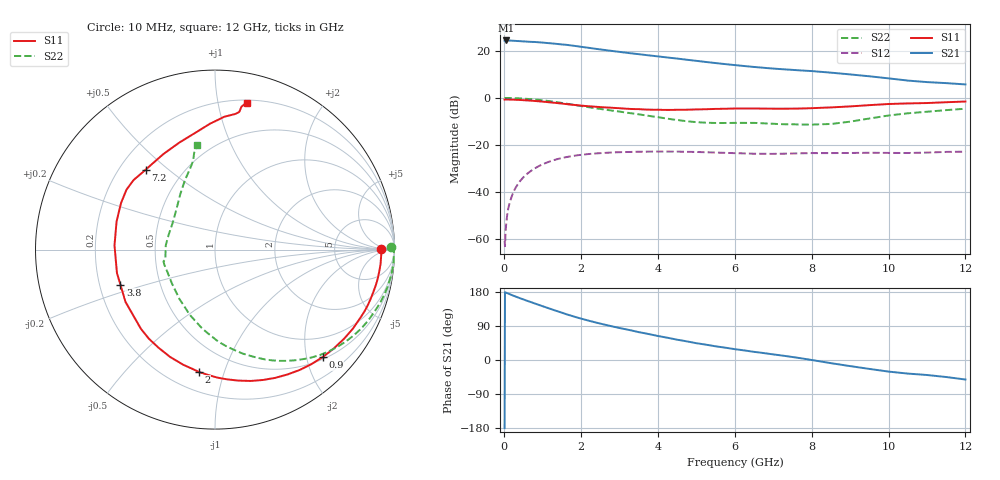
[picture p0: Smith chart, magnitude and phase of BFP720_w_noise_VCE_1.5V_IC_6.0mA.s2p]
! Infineon Technologies  Discrete & RF Semiconductors
! BFP720
! VCE =  1.5 V,  IC =  6.0 mA
! Common Emitter S-Parameters:  Aug 2012
# GHz  S  MA  R  50
!  f  S11  S21  S12  S22
! GHz  MAG  ANG  MAG  ANG  MAG  ANG  MAG  ANG
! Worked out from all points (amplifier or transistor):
!   105 points, 10 MHz to 12 GHz, reference 50 ohm
!   highest |S21| = 24.5 dB at 50 MHz (marker M1)
!   |S21| within 3 dB of that: start of sweep to 2.136 GHz
!   unconditionally stable (mu >= 1): start of sweep to 11 MHz; 6.482 GHz to 11.68 GHz
!   at 300 MHz: K = 0.05, MSG = 31.2 dB, |S12| = -38.1 dB
!   at 3.6 GHz: K = 0.53, MSG = 20.7 dB, |S12| = -22.9 dB
!   at 12 GHz: K = 0.90, MSG = 14.3 dB, |S12| = -22.9 dB
!   lowest NFmin = 0.43 dB at 450 MHz
!   S11 on the Smith chart (normalised r, x): 10 MHz: 25, +1; 900 MHz: 0.54, -2.31; 2 GHz: 0.32, -0.83; 3.8 GHz: 0.29, -0.16; 7.2 GHz: 0.31, +0.42; 12 GHz: 0.22, +1.22
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0.01  0.9238 0.2  16.54 -179.8  0.0009 0.6  0.983 1.0
0.02  0.927 -0.9  16.5 178.8  0.0007 96.6  0.9974 -0.6
0.05  0.9263 -2.4  16.72 177.5  0.002 86.9  0.9967 -1.7
0.2  0.9212 -9.9  16.52 171.3  0.0082 84.3  0.9933 -7.2
0.45  0.9015 -22.3  16.07 161.6  0.0185 76.6  0.9726 -16.0
0.9  0.848 -44.9  15.28 145.4  0.0354 63.1  0.9089 -31.7
1.3  0.7893 -64.9  14.3 131.5  0.0477 51.7  0.8283 -45.2
1.6  0.7414 -79.9  13.56 121.3  0.0547 44.0  0.7598 -54.3
2  0.6875 -97.4  12.26 109.2  0.0615 34.8  0.6734 -65.4
2.1  0.6749 -101.3  11.94 106.5  0.0627 32.8  0.6531 -67.8
2.4  0.6483 -112.7  11.05 98.5  0.066 27.1  0.5995 -75.1
2.8  0.6184 -126.5  10.02 88.9  0.069 20.8  0.5388 -83.8
3.5  0.5776 -149.7  8.542 73.5  0.0717 11.5  0.448 -98.8
3.8  0.562 -159.7  7.985 67.6  0.072 8.1  0.411 -105.7
4.1  0.558 -169.7  7.494 61.5  0.0722 4.9  0.3782 -113.6
5  0.5702 164.1  6.158 44.3  0.0708 -3.5  0.3058 -141.4
6.1  0.5951 144.6  4.906 27.3  0.0664 -9.2  0.2945 -163.9
7.2  0.5897 131.0  4.104 12.1  0.065 -10.4  0.2768 -175.3
8.5  0.6283 108.5  3.452 -8.3  0.067 -14.5  0.279 147.6
9.5  0.7024 92.2  2.89 -23.5  0.0681 -17.6  0.3647 122.0
10.5  0.7642 81.5  2.342 -35.8  0.0673 -20.2  0.4708 107.2
12  0.838 77.8  1.938 -51.5  0.0718 -24.8  0.5896 99.8
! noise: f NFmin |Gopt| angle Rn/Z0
0.45  0.43  0.44  3  0.13
1.8  0.51  0.42  24  0.13
2.4  0.55  0.3  55  0.23
5.5  0.69  0.2  58  0.14
10  0.95  0.39  -89  0.21
